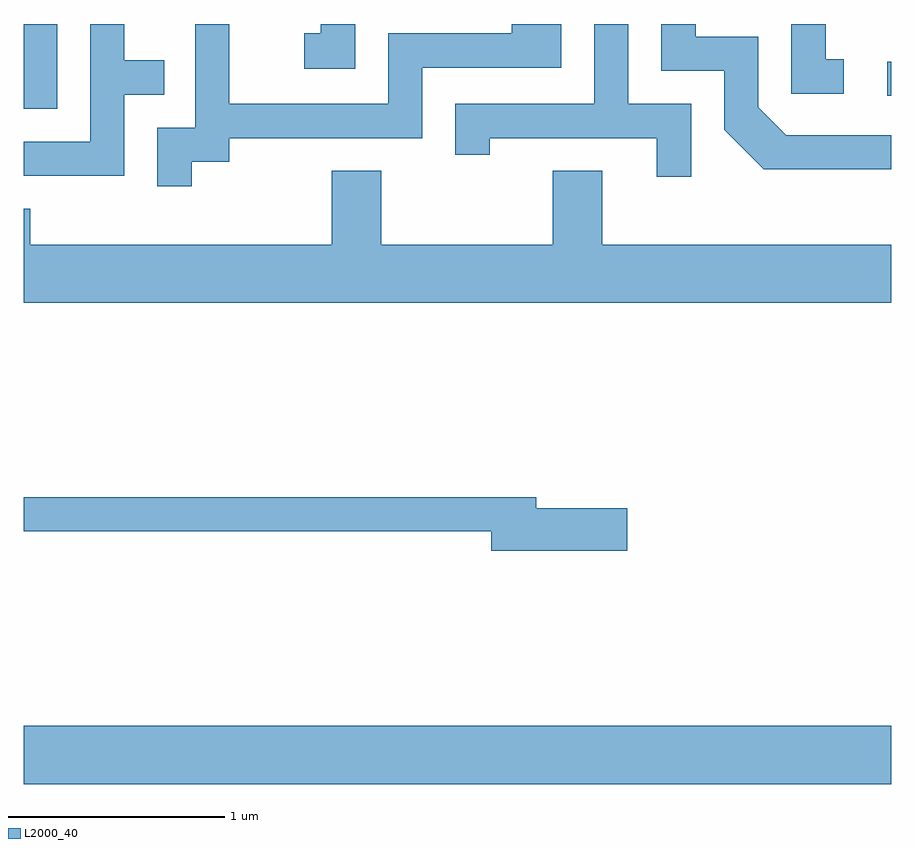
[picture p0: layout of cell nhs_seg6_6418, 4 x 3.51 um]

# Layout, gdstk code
import gdstk
lib = gdstk.Library(unit=1e-6, precision=1e-09)
def R(c, l, rs):  # rectangles x0, y0, x1, y1
    for r in rs: c.add(gdstk.rectangle(r[:2], r[2:], *l))
def P(c, l, *ps):  # polygons
    for p in ps: c.add(gdstk.Polygon(p, *l))
L2000_40 = (2000, 40)

nhs_seg6_6418 = lib.new_cell('nhs_seg6_6418')
R(nhs_seg6_6418, L2000_40, [(379.611,1596.656,383.611,1596.924), (379.611,1599.771,379.764,1600.162), (383.593,1599.831,383.611,1599.989)])
P(nhs_seg6_6418, L2000_40, [(383.611,1599.649),(383.127,1599.649),(382.999,1599.777),(382.999,1600.104),(382.709,1600.104),(382.709,1600.162),(382.551,1600.162),(382.551,1599.946),(382.841,1599.946),(382.841,1599.674),(383.024,1599.491),(383.611,1599.491)],
  [(380.384,1599.526),(380.559,1599.526),(380.559,1599.636),(381.449,1599.636),(381.449,1599.961),(382.089,1599.961),(382.089,1600.162),(381.861,1600.162),(381.861,1600.119),(381.291,1600.119),(381.291,1599.794),(380.559,1599.794),(380.559,1600.162),(380.401,1600.162),(380.401,1599.684),(380.226,1599.684),(380.226,1599.413),(380.384,1599.413)],
  [(381.139,1600.162),(380.981,1600.162),(380.981,1600.119),(380.903,1600.119),(380.903,1599.956),(381.139,1599.956)],
  [(382.689,1599.794),(382.399,1599.794),(382.399,1600.162),(382.241,1600.162),(382.241,1599.794),(381.601,1599.794),(381.601,1599.558),(381.759,1599.558),(381.759,1599.636),(382.531,1599.636),(382.531,1599.458),(382.689,1599.458)],
  [(380.074,1599.836),(380.258,1599.836),(380.258,1599.994),(380.074,1599.994),(380.074,1600.162),(379.916,1600.162),(379.916,1599.619),(379.611,1599.619),(379.611,1599.461),(380.074,1599.461)],
  [(383.393,1599.999),(383.309,1599.999),(383.309,1600.162),(383.151,1600.162),(383.151,1599.841),(383.393,1599.841)],
  [(383.611,1599.144),(382.279,1599.144),(382.279,1599.484),(382.051,1599.484),(382.051,1599.144),(381.259,1599.144),(381.259,1599.484),(381.031,1599.484),(381.031,1599.144),(379.639,1599.144),(379.639,1599.309),(379.611,1599.309),(379.611,1598.876),(383.611,1598.876)],
  [(382.394,1597.929),(381.974,1597.929),(381.974,1597.979),(379.611,1597.979),(379.611,1597.821),(381.766,1597.821),(381.766,1597.731),(382.394,1597.731)])

lib.write_gds('nhs_seg6_6418.gds')
